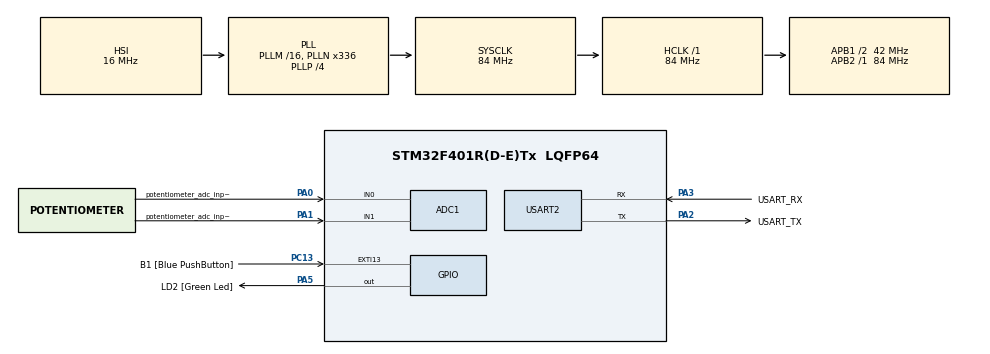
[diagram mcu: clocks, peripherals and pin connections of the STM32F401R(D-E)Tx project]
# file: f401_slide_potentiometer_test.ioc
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ADC1.Channel-5\#ChannelRegularConversion=ADC_CHANNEL_0
ADC1.Channel-6\#ChannelInjectedConversion=ADC_CHANNEL_0
ADC1.Channel-7\#ChannelRegularConversion=ADC_CHANNEL_1
ADC1.InjNumberOfConversion=1
ADC1.InjectedOffset-6\#ChannelInjectedConversion=0
ADC1.InjectedRank-6\#ChannelInjectedConversion=1
ADC1.NbrOfConversion=2
ADC1.NbrOfConversionFlag=1
ADC1.Rank-5\#ChannelRegularConversion=1
ADC1.Rank-7\#ChannelRegularConversion=2
ADC1.SamplingTime-5\#ChannelRegularConversion=ADC_SAMPLETIME_3CYCLES
ADC1.SamplingTime-6\#ChannelInjectedConversion=ADC_SAMPLETIME_3CYCLES
ADC1.SamplingTime-7\#ChannelRegularConversion=ADC_SAMPLETIME_3CYCLES
ADC1.master=1
Dma.ADC1.0.Direction=DMA_PERIPH_TO_MEMORY
Dma.ADC1.0.FIFOMode=DMA_FIFOMODE_DISABLE
Dma.ADC1.0.Instance=DMA2_Stream0
Dma.ADC1.0.MemDataAlignment=DMA_MDATAALIGN_WORD
Dma.ADC1.0.MemInc=DMA_MINC_ENABLE
Dma.ADC1.0.Mode=DMA_CIRCULAR
Dma.ADC1.0.PeriphDataAlignment=DMA_PDATAALIGN_WORD
Dma.ADC1.0.PeriphInc=DMA_PINC_DISABLE
Dma.ADC1.0.Priority=DMA_PRIORITY_LOW
Dma.Request0=ADC1
Mcu.Family=STM32F4
Mcu.Name=STM32F401R(D-E)Tx
Mcu.Package=LQFP64
NVIC.DMA2_Stream0_IRQn=true\:0\:0\:false\:false\:true\:false\:true\:true
NVIC.EXTI15_10_IRQn=true\:0\:0\:false\:false\:true\:true\:true\:true
NVIC.PriorityGroup=NVIC_PRIORITYGROUP_0
PA0-WKUP.GPIO_Label=potentiometer_adc_input_0
PA0-WKUP.Signal=SharedAnalog_PA0
PA1.GPIO_Label=potentiometer_adc_input_1
PA1.Signal=ADCx_IN1
PA13.GPIO_Label=TMS
PA13.Mode=Serial_Wire
PA13.Signal=SYS_JTMS-SWDIO
PA14.GPIO_Label=TCK
PA14.Mode=Serial_Wire
PA14.Signal=SYS_JTCK-SWCLK
PA2.GPIO_Label=USART_TX
PA2.GPIO_Mode=GPIO_MODE_AF_PP
PA2.GPIO_PuPd=GPIO_NOPULL
PA2.GPIO_Speed=GPIO_SPEED_FREQ_LOW
PA2.Mode=Asynchronous
PA2.Signal=USART2_TX
PA3.GPIO_Label=USART_RX
PA3.GPIO_Mode=GPIO_MODE_AF_PP
PA3.GPIO_PuPd=GPIO_NOPULL
PA3.GPIO_Speed=GPIO_SPEED_FREQ_LOW
PA3.Mode=Asynchronous
PA3.Signal=USART2_RX
PA5.GPIO_Label=LD2 [Green Led]
PA5.GPIO_Mode=GPIO_MODE_OUTPUT_PP
PA5.GPIO_PuPd=GPIO_NOPULL
PA5.GPIO_Speed=GPIO_SPEED_FREQ_LOW
PA5.Signal=GPIO_Output
PB3.GPIO_Label=SWO
PB3.Signal=SYS_JTDO-SWO
PC13-ANTI_TAMP.GPIO_Label=B1 [Blue PushButton]
PC13-ANTI_TAMP.GPIO_ModeDefaultEXTI=GPIO_MODE_IT_FALLING
PC13-ANTI_TAMP.GPIO_PuPd=GPIO_NOPULL
PC13-ANTI_TAMP.Signal=GPXTI13
PC14-OSC32_IN.Mode=LSE-External-Oscillator
PC14-OSC32_IN.Signal=RCC_OSC32_IN
PC15-OSC32_OUT.Mode=LSE-External-Oscillator
PC15-OSC32_OUT.Signal=RCC_OSC32_OUT
PH0\ -\ OSC_IN.Mode=HSE-External-Clock-Source
PH0\ -\ OSC_IN.Signal=RCC_OSC_IN
PH1\ -\ OSC_OUT.Mode=HSE-External-Clock-Source
PH1\ -\ OSC_OUT.Signal=RCC_OSC_OUT
ProjectManager.HeapSize=0x200
ProjectManager.StackSize=0x400
ProjectManager.TargetToolchain=STM32CubeIDE
RCC.48MHZClocksFreq_Value=48000000
RCC.AHBFreq_Value=84000000
RCC.APB1CLKDivider=RCC_HCLK_DIV2
RCC.APB1Freq_Value=42000000
RCC.APB1TimFreq_Value=84000000
RCC.APB2Freq_Value=84000000
RCC.APB2TimFreq_Value=84000000
RCC.CortexFreq_Value=84000000
RCC.HCLKFreq_Value=84000000
RCC.HSE_VALUE=8000000
RCC.HSI_VALUE=16000000
RCC.PLLN=336
RCC.PLLP=RCC_PLLP_DIV4
RCC.PLLQ=7
RCC.SYSCLKFreq_VALUE=84000000
RCC.SYSCLKSource=RCC_SYSCLKSOURCE_PLLCLK
RCC.VCOOutputFreq_Value=336000000
SH.ADCx_IN1.0=ADC1_IN1,IN1
SH.SharedAnalog_PA0.0=GPIO_Analog
SH.SharedAnalog_PA0.1=ADC1_IN0,IN0
USART2.VirtualMode=VM_ASYNC
board=NUCLEO-F401RE

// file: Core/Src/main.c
/* USER CODE BEGIN Header */
/**
  ******************************************************************************
  * @file           : main.c
  * @brief          : Main program body
  ******************************************************************************
  * @attention
  *
  * Copyright (c) 2024 STMicroelectronics.
  * All rights reserved.
  *
  * This software is licensed under terms that can be found in the LICENSE file
  * in the root directory of this software component.
  * If no LICENSE file comes with this software, it is provided AS-IS.
  *
  ******************************************************************************
  */
/* USER CODE END Header */
#include "main.h"

/* USER CODE BEGIN Includes */
#include <stdlib.h>
/* USER CODE END Includes */

ADC_HandleTypeDef hadc1;
DMA_HandleTypeDef hdma_adc1;

UART_HandleTypeDef huart2;

/* USER CODE BEGIN PV */
uint32_t potentiometer_value = 0 ;
uint32_t adcChannels[NUM_CHANNELS] = {ADC_CHANNEL_0, ADC_CHANNEL_1};
uint32_t currentValues[NUM_CHANNELS] = {0};
uint16_t previousADCValue[NUM_CHANNELS] = {0};
uint32_t smoothedValues[NUM_CHANNELS];
uint32_t classPercentADC[NUM_CHANNELS];

/* USER CODE END PV */

void SystemClock_Config(void);
static void MX_GPIO_Init(void);
static void MX_DMA_Init(void);
static void MX_USART2_UART_Init(void);
static void MX_ADC1_Init(void);

int main(void)
{

  /* MCU Configuration--------------------------------------------------------*/

  /* Reset of all peripherals, Initializes the Flash interface and the Systick. */
  HAL_Init();

  /* Configure the system clock */
  SystemClock_Config();

  /* Initialize all configured peripherals */
  MX_GPIO_Init();
  MX_DMA_Init();
  MX_USART2_UART_Init();
  MX_ADC1_Init();

  /* Infinite loop */
  while (1)
  {

    /* USER CODE BEGIN 3 */
	  HAL_ADC_Start_DMA(&hadc1, currentValues, NUM_CHANNELS);
  }
  /* USER CODE END 3 */
}

void SystemClock_Config(void)
{
  RCC_OscInitTypeDef RCC_OscInitStruct = {0};
  RCC_ClkInitTypeDef RCC_ClkInitStruct = {0};

  /** Configure the main internal regulator output voltage
  */
  __HAL_RCC_PWR_CLK_ENABLE();
  __HAL_PWR_VOLTAGESCALING_CONFIG(PWR_REGULATOR_VOLTAGE_SCALE2);

  /** Initializes the RCC Oscillators according to the specified parameters
  * in the RCC_OscInitTypeDef structure.
  */
  RCC_OscInitStruct.OscillatorType = RCC_OSCILLATORTYPE_HSI;
  RCC_OscInitStruct.HSIState = RCC_HSI_ON;
  RCC_OscInitStruct.HSICalibrationValue = RCC_HSICALIBRATION_DEFAULT;
  RCC_OscInitStruct.PLL.PLLState = RCC_PLL_ON;
  RCC_OscInitStruct.PLL.PLLSource = RCC_PLLSOURCE_HSI;
  RCC_OscInitStruct.PLL.PLLM = 16;
  RCC_OscInitStruct.PLL.PLLN = 336;
  RCC_OscInitStruct.PLL.PLLP = RCC_PLLP_DIV4;
  RCC_OscInitStruct.PLL.PLLQ = 7;
  if (HAL_RCC_OscConfig(&RCC_OscInitStruct) != HAL_OK)
  {
    Error_Handler();
  }

  /** Initializes the CPU, AHB and APB buses clocks
  */
  RCC_ClkInitStruct.ClockType = RCC_CLOCKTYPE_HCLK|RCC_CLOCKTYPE_SYSCLK
                              |RCC_CLOCKTYPE_PCLK1|RCC_CLOCKTYPE_PCLK2;
  RCC_ClkInitStruct.SYSCLKSource = RCC_SYSCLKSOURCE_PLLCLK;
  RCC_ClkInitStruct.AHBCLKDivider = RCC_SYSCLK_DIV1;
  RCC_ClkInitStruct.APB1CLKDivider = RCC_HCLK_DIV2;
  RCC_ClkInitStruct.APB2CLKDivider = RCC_HCLK_DIV1;

  if (HAL_RCC_ClockConfig(&RCC_ClkInitStruct, FLASH_LATENCY_2) != HAL_OK)
  {
    Error_Handler();
  }
}

static void MX_ADC1_Init(void)
{

  ADC_ChannelConfTypeDef sConfig = {0};
  ADC_InjectionConfTypeDef sConfigInjected = {0};

  /** Configure the global features of the ADC (Clock, Resolution, Data Alignment and number of conversion)
  */
  hadc1.Instance = ADC1;
  hadc1.Init.ClockPrescaler = ADC_CLOCK_SYNC_PCLK_DIV4;
  hadc1.Init.Resolution = ADC_RESOLUTION_12B;
  hadc1.Init.ScanConvMode = ENABLE;
  hadc1.Init.ContinuousConvMode = DISABLE;
  hadc1.Init.DiscontinuousConvMode = DISABLE;
  hadc1.Init.ExternalTrigConvEdge = ADC_EXTERNALTRIGCONVEDGE_NONE;
  hadc1.Init.ExternalTrigConv = ADC_SOFTWARE_START;
  hadc1.Init.DataAlign = ADC_DATAALIGN_RIGHT;
  hadc1.Init.NbrOfConversion = 2;
  hadc1.Init.DMAContinuousRequests = DISABLE;
  hadc1.Init.EOCSelection = ADC_EOC_SINGLE_CONV;
  if (HAL_ADC_Init(&hadc1) != HAL_OK)
  {
    Error_Handler();
  }

  /** Configure for the selected ADC regular channel its corresponding rank in the sequencer and its sample time.
  */
  sConfig.Channel = ADC_CHANNEL_0;
  sConfig.Rank = 1;
  sConfig.SamplingTime = ADC_SAMPLETIME_3CYCLES;
  if (HAL_ADC_ConfigChannel(&hadc1, &sConfig) != HAL_OK)
  {
    Error_Handler();
  }

  /** Configure for the selected ADC regular channel its corresponding rank in the sequencer and its sample time.
  */
  sConfig.Channel = ADC_CHANNEL_1;
  sConfig.Rank = 2;
  if (HAL_ADC_ConfigChannel(&hadc1, &sConfig) != HAL_OK)
  {
    Error_Handler();
  }

  /** Configures for the selected ADC injected channel its corresponding rank in the sequencer and its sample time
  */
  sConfigInjected.InjectedChannel = ADC_CHANNEL_0;
  sConfigInjected.InjectedRank = 1;
  sConfigInjected.InjectedNbrOfConversion = 1;
  sConfigInjected.InjectedSamplingTime = ADC_SAMPLETIME_3CYCLES;
  sConfigInjected.ExternalTrigInjecConvEdge = ADC_EXTERNALTRIGINJECCONVEDGE_NONE;
  sConfigInjected.ExternalTrigInjecConv = ADC_INJECTED_SOFTWARE_START;
  sConfigInjected.AutoInjectedConv = DISABLE;
  sConfigInjected.InjectedDiscontinuousConvMode = DISABLE;
  sConfigInjected.InjectedOffset = 0;
  if (HAL_ADCEx_InjectedConfigChannel(&hadc1, &sConfigInjected) != HAL_OK)
  {
    Error_Handler();
  }

}

static void MX_USART2_UART_Init(void)
{

  huart2.Instance = USART2;
  huart2.Init.BaudRate = 115200;
  huart2.Init.WordLength = UART_WORDLENGTH_8B;
  huart2.Init.StopBits = UART_STOPBITS_1;
  huart2.Init.Parity = UART_PARITY_NONE;
  huart2.Init.Mode = UART_MODE_TX_RX;
  huart2.Init.HwFlowCtl = UART_HWCONTROL_NONE;
  huart2.Init.OverSampling = UART_OVERSAMPLING_16;
  if (HAL_UART_Init(&huart2) != HAL_OK)
  {
    Error_Handler();
  }

}

static void MX_DMA_Init(void)
{

  /* DMA controller clock enable */
  __HAL_RCC_DMA2_CLK_ENABLE();

  /* DMA interrupt init */
  /* DMA2_Stream0_IRQn interrupt configuration */
  HAL_NVIC_SetPriority(DMA2_Stream0_IRQn, 0, 0);
  HAL_NVIC_EnableIRQ(DMA2_Stream0_IRQn);

}

static void MX_GPIO_Init(void)
{
  GPIO_InitTypeDef GPIO_InitStruct = {0};

  /* GPIO Ports Clock Enable */
  __HAL_RCC_GPIOC_CLK_ENABLE();
  __HAL_RCC_GPIOH_CLK_ENABLE();
  __HAL_RCC_GPIOA_CLK_ENABLE();
  __HAL_RCC_GPIOB_CLK_ENABLE();

  /*Configure GPIO pin Output Level */
  HAL_GPIO_WritePin(LD2_GPIO_Port, LD2_Pin, GPIO_PIN_RESET);

  /*Configure GPIO pin : B1_Pin */
  GPIO_InitStruct.Pin = B1_Pin;
  GPIO_InitStruct.Mode = GPIO_MODE_IT_FALLING;
  GPIO_InitStruct.Pull = GPIO_NOPULL;
  HAL_GPIO_Init(B1_GPIO_Port, &GPIO_InitStruct);

  /*Configure GPIO pin : LD2_Pin */
  GPIO_InitStruct.Pin = LD2_Pin;
  GPIO_InitStruct.Mode = GPIO_MODE_OUTPUT_PP;
  GPIO_InitStruct.Pull = GPIO_NOPULL;
  GPIO_InitStruct.Speed = GPIO_SPEED_FREQ_LOW;
  HAL_GPIO_Init(LD2_GPIO_Port, &GPIO_InitStruct);

  /* EXTI interrupt init*/
  HAL_NVIC_SetPriority(EXTI15_10_IRQn, 0, 0);
  HAL_NVIC_EnableIRQ(EXTI15_10_IRQn);

/* USER CODE BEGIN MX_GPIO_Init_2 */
  GPIO_InitStruct.Pin = GPIO_PIN_0;
  GPIO_InitStruct.Mode = GPIO_MODE_ANALOG;
  GPIO_InitStruct.Pull = GPIO_NOPULL;
  HAL_GPIO_Init(GPIOA, &GPIO_InitStruct);
/* USER CODE END MX_GPIO_Init_2 */
}

/* USER CODE BEGIN 4 */
uint16_t readAnalogValue(uint32_t channel,uint8_t i)
{
   /* ADC_ChannelConfTypeDef sConfig = {0};

    //sConfig.Channel = channel;
    //sConfig.Rank = i+1;
    //sConfig.SamplingTime = ADC_SAMPLETIME_15CYCLES*(i+1);

    if (HAL_ADC_ConfigChannel(&hadc1, &sConfig) != HAL_OK)
    {
        Error_Handler();
    }
*/
    HAL_ADC_Start(&hadc1);
    if (HAL_ADC_PollForConversion(&hadc1, HAL_MAX_DELAY) == HAL_OK)
    {
        return HAL_ADC_GetValue(&hadc1);

    }
    return 0;
}

/* void changeADCValue(void){
    for (int i = 0; i < NUM_CHANNELS; i++)
    {
        uint16_t currentValue = readAnalogValue(adcChannels[i], i);
        HAL_ADC_Stop(&hadc1);
        if (abs(currentValue - previousValues[i]) >= threshold)
        {
            // Wert hat sich um mehr als den definierten Betrag geändert
            previousValues[i] = currentValue;

        }
    }
    HAL_Delay(100);  // Beispielhaftes Abtastintervall
}*/

void HAL_ADC_ConvCpltCallback(ADC_HandleTypeDef* hadc)
{
	if (hadc->Instance == ADC1){
		uint8_t i;

		for (i = 0; i < NUM_CHANNELS; i++){
            smoothedValues[i] = (uint32_t)(ALPHA * currentValues[i] + (1 - ALPHA) * smoothedValues[i]);
			if (abs(smoothedValues[i] - previousADCValue[i]) >= THRESHOLD){
				previousADCValue[i] = smoothedValues[i];
				if(smoothedValues[i]>4064)
				classPercentADC[i] = (smoothedValues[i]/THRESHOLD)+1;
				else
				classPercentADC[i] = (smoothedValues[i]/THRESHOLD);
			}
		}
	}
}

/* USER CODE END 4 */

void Error_Handler(void)
{
  __disable_irq();
  while (1)
  {
  }
}
